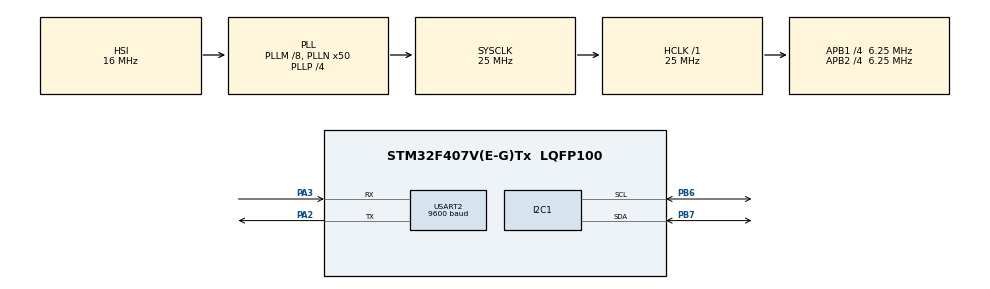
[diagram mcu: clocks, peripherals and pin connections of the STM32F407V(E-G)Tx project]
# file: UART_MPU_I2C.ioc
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Mcu.Family=STM32F4
Mcu.Name=STM32F407V(E-G)Tx
Mcu.Package=LQFP100
NVIC.I2C1_ER_IRQn=true\:0\:0\:false\:false\:true\:true\:true\:true
NVIC.I2C1_EV_IRQn=true\:0\:0\:false\:false\:true\:true\:true\:true
NVIC.PriorityGroup=NVIC_PRIORITYGROUP_0
NVIC.USART2_IRQn=true\:0\:0\:false\:false\:true\:true\:true\:true
PA2.Mode=Asynchronous
PA2.Signal=USART2_TX
PA3.Mode=Asynchronous
PA3.Signal=USART2_RX
PB6.Mode=I2C
PB6.Signal=I2C1_SCL
PB7.Mode=I2C
PB7.Signal=I2C1_SDA
ProjectManager.HeapSize=0x200
ProjectManager.StackSize=0x400
ProjectManager.TargetToolchain=STM32CubeIDE
RCC.48MHZClocksFreq_Value=14285714.285714285
RCC.AHBFreq_Value=25000000
RCC.APB1CLKDivider=RCC_HCLK_DIV4
RCC.APB1Freq_Value=6250000
RCC.APB1TimFreq_Value=12500000
RCC.APB2CLKDivider=RCC_HCLK_DIV4
RCC.APB2Freq_Value=6250000
RCC.APB2TimFreq_Value=12500000
RCC.CortexFreq_Value=25000000
RCC.HCLKFreq_Value=25000000
RCC.HSE_VALUE=8000000
RCC.HSI_VALUE=16000000
RCC.PLLM=8
RCC.PLLN=50
RCC.PLLP=RCC_PLLP_DIV4
RCC.PLLQ=7
RCC.SYSCLKFreq_VALUE=25000000
RCC.SYSCLKSource=RCC_SYSCLKSOURCE_PLLCLK
RCC.VCOOutputFreq_Value=100000000
USART2.BaudRate=9600
USART2.VirtualMode=VM_ASYNC
board=STM32F407G-DISC1

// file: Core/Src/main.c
/* USER CODE BEGIN Header */
/**
  ******************************************************************************
  * @file           : main.c
  * @brief          : Main program body
  ******************************************************************************
  * @attention
  *
  * Copyright (c) 2026 STMicroelectronics.
  * All rights reserved.
  *
  * This software is licensed under terms that can be found in the LICENSE file
  * in the root directory of this software component.
  * If no LICENSE file comes with this software, it is provided AS-IS.
  *
  ******************************************************************************
  */
/* USER CODE END Header */
#include "main.h"
#include <stdio.h>
#include <string.h>
/* USER CODE BEGIN Includes */
#define MPU_6500_ADDR (0x68 << 1)
#define WHO_AM_I 0x75
#define GYRO_CFG 0x1B
/* USER CODE END Includes */

I2C_HandleTypeDef hi2c1;

UART_HandleTypeDef huart2;

/* USER CODE BEGIN PV */
uint8_t check_id = 0;
uint8_t wake_cmd = 0x00;
uint8_t og_data = 0;
/* USER CODE END PV */

void SystemClock_Config(void);
static void MX_GPIO_Init(void);
static void MX_I2C1_Init(void);
static void MX_USART2_UART_Init(void);

/* USER CODE BEGIN 0 */

void UART_Log(char *message) {
    HAL_UART_Transmit(&huart2, (uint8_t*)message, strlen(message), 100);
}

HAL_StatusTypeDef MPU_6500_Init(void) {
    if(HAL_I2C_Mem_Read(&hi2c1, MPU_6500_ADDR, WHO_AM_I, 1, &check_id, 1, 10) != HAL_OK){
    	UART_Log("Device identification Failed\r\n");
    	return HAL_ERROR;
    }
    else{
    	UART_Log("Device identification Successful\r\n");
    }
    return HAL_OK;

}

void I2C_WRITE_MPU(uint8_t data, uint8_t reg_add){
	if(HAL_I2C_Mem_Write(&hi2c1, MPU_6500_ADDR, reg_add, 1, &data, 1, 100) != HAL_OK){
		UART_Log("Failed to write data!\r\n");
		Error_Handler();
	}
	else{
		UART_Log("Data written successfully\r\n");
	}
}

void I2C_READ_MPU(uint8_t reg_add){
	  if(HAL_I2C_Mem_Read(&hi2c1, MPU_6500_ADDR, reg_add, 1, &og_data, 1, 100) != HAL_OK){
		  UART_Log("Failed to read data!\r\n");
		  Error_Handler();
	  }
	  else{
		UART_Log("Data read successfully\r\n");
		uint8_t config = og_data >> 3;
		char data[5];
		char gyro_config[50];
		sprintf(gyro_config, "Configuration: %d\r\n", config);
		sprintf(data, "Data: %d\r\n", og_data);
		UART_Log(gyro_config);
		UART_Log(data);
	  }
}

void READ_CFG(uint8_t reg_add){

}

/* USER CODE END 0 */

int main(void)
{

  /* MCU Configuration--------------------------------------------------------*/

  /* Reset of all peripherals, Initializes the Flash interface and the Systick. */
  HAL_StatusTypeDef hal_sat = HAL_Init();
  if(hal_sat != HAL_OK){
	  UART_Log("HAL Initialization Failed!\r\n");
	  Error_Handler();
  }

  /* Configure the system clock */
  SystemClock_Config();

  /* Initialize all configured peripherals */
  MX_GPIO_Init();
  MX_I2C1_Init();
  MX_USART2_UART_Init();
  /* USER CODE BEGIN 2 */
  HAL_StatusTypeDef mpu_status = MPU_6500_Init();
  if(mpu_status != HAL_OK){
	  UART_Log("MPU_6500 Initialization Failed!\r\n");
	  Error_Handler();
  }
  else{
	  UART_Log("MPU_6500 Initialization Successful!\r\n");
  }

  I2C_READ_MPU(GYRO_CFG);

  I2C_WRITE_MPU(24, GYRO_CFG);
  I2C_READ_MPU(GYRO_CFG);
  I2C_WRITE_MPU(0, GYRO_CFG);
  I2C_READ_MPU(GYRO_CFG);
  /* USER CODE END 2 */

}

void SystemClock_Config(void)
{
  RCC_OscInitTypeDef RCC_OscInitStruct = {0};
  RCC_ClkInitTypeDef RCC_ClkInitStruct = {0};

  /** Configure the main internal regulator output voltage
  */
  __HAL_RCC_PWR_CLK_ENABLE();
  __HAL_PWR_VOLTAGESCALING_CONFIG(PWR_REGULATOR_VOLTAGE_SCALE1);

  /** Initializes the RCC Oscillators according to the specified parameters
  * in the RCC_OscInitTypeDef structure.
  */
  RCC_OscInitStruct.OscillatorType = RCC_OSCILLATORTYPE_HSI;
  RCC_OscInitStruct.HSIState = RCC_HSI_ON;
  RCC_OscInitStruct.HSICalibrationValue = RCC_HSICALIBRATION_DEFAULT;
  RCC_OscInitStruct.PLL.PLLState = RCC_PLL_ON;
  RCC_OscInitStruct.PLL.PLLSource = RCC_PLLSOURCE_HSI;
  RCC_OscInitStruct.PLL.PLLM = 8;
  RCC_OscInitStruct.PLL.PLLN = 50;
  RCC_OscInitStruct.PLL.PLLP = RCC_PLLP_DIV4;
  RCC_OscInitStruct.PLL.PLLQ = 7;
  if (HAL_RCC_OscConfig(&RCC_OscInitStruct) != HAL_OK)
  {
    Error_Handler();
  }

  /** Initializes the CPU, AHB and APB buses clocks
  */
  RCC_ClkInitStruct.ClockType = RCC_CLOCKTYPE_HCLK|RCC_CLOCKTYPE_SYSCLK
                              |RCC_CLOCKTYPE_PCLK1|RCC_CLOCKTYPE_PCLK2;
  RCC_ClkInitStruct.SYSCLKSource = RCC_SYSCLKSOURCE_PLLCLK;
  RCC_ClkInitStruct.AHBCLKDivider = RCC_SYSCLK_DIV1;
  RCC_ClkInitStruct.APB1CLKDivider = RCC_HCLK_DIV4;
  RCC_ClkInitStruct.APB2CLKDivider = RCC_HCLK_DIV4;

  if (HAL_RCC_ClockConfig(&RCC_ClkInitStruct, FLASH_LATENCY_0) != HAL_OK)
  {
    Error_Handler();
  }
}

static void MX_I2C1_Init(void)
{

  hi2c1.Instance = I2C1;
  hi2c1.Init.ClockSpeed = 100000;
  hi2c1.Init.DutyCycle = I2C_DUTYCYCLE_2;
  hi2c1.Init.OwnAddress1 = 0;
  hi2c1.Init.AddressingMode = I2C_ADDRESSINGMODE_7BIT;
  hi2c1.Init.DualAddressMode = I2C_DUALADDRESS_DISABLE;
  hi2c1.Init.OwnAddress2 = 0;
  hi2c1.Init.GeneralCallMode = I2C_GENERALCALL_DISABLE;
  hi2c1.Init.NoStretchMode = I2C_NOSTRETCH_DISABLE;
  if (HAL_I2C_Init(&hi2c1) != HAL_OK)
  {
    Error_Handler();
  }

}

static void MX_USART2_UART_Init(void)
{

  huart2.Instance = USART2;
  huart2.Init.BaudRate = 9600;
  huart2.Init.WordLength = UART_WORDLENGTH_8B;
  huart2.Init.StopBits = UART_STOPBITS_1;
  huart2.Init.Parity = UART_PARITY_NONE;
  huart2.Init.Mode = UART_MODE_TX_RX;
  huart2.Init.HwFlowCtl = UART_HWCONTROL_NONE;
  huart2.Init.OverSampling = UART_OVERSAMPLING_16;
  if (HAL_UART_Init(&huart2) != HAL_OK)
  {
    Error_Handler();
  }

}

static void MX_GPIO_Init(void)
{

  /* GPIO Ports Clock Enable */
  __HAL_RCC_GPIOA_CLK_ENABLE();
  __HAL_RCC_GPIOB_CLK_ENABLE();

}

void Error_Handler(void)
{
  __disable_irq();
  while (1)
  {
  }
}
